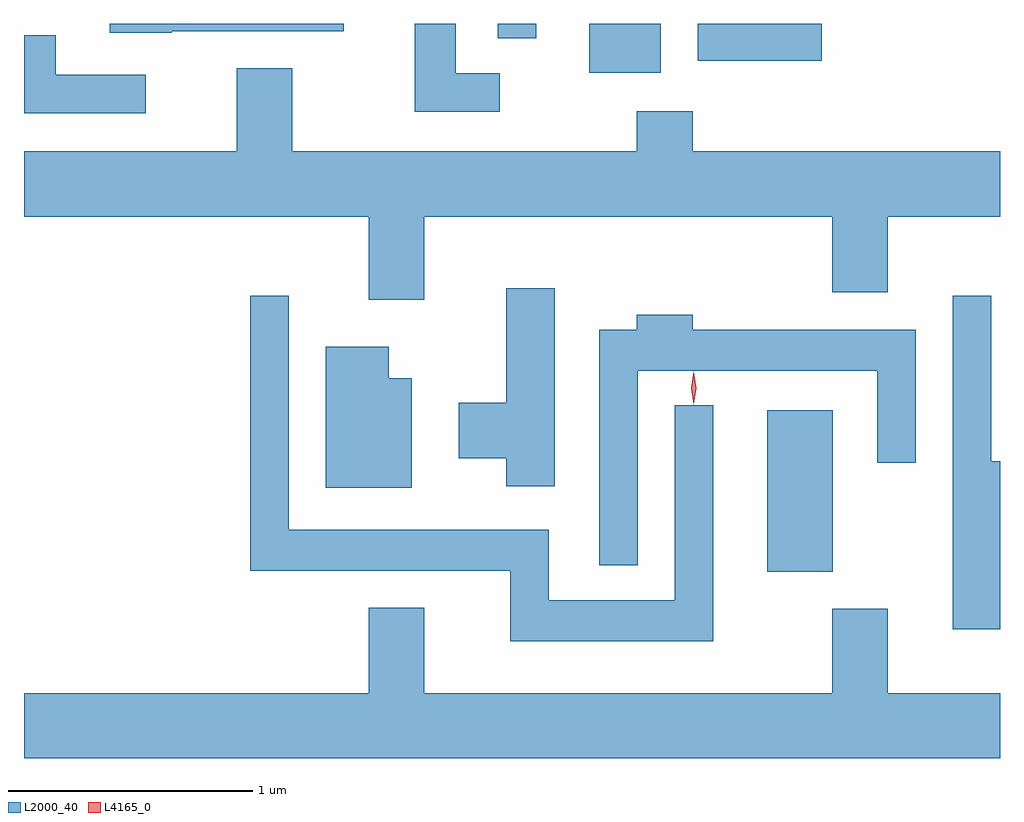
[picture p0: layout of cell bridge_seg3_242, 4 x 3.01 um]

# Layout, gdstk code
import gdstk
lib = gdstk.Library(unit=1e-6, precision=1e-09)
def R(c, l, rs):  # rectangles x0, y0, x1, y1
    for r in rs: c.add(gdstk.rectangle(r[:2], r[2:], *l))
def P(c, l, *ps):  # polygons
    for p in ps: c.add(gdstk.Polygon(p, *l))
L2000_40 = (2000, 40)
L4165_0 = (4165, 0)

bridge_seg3_242 = lib.new_cell('bridge_seg3_242')
R(bridge_seg3_242, L2000_40, [(931.946,1137.881,932.214,1138.544), (931.216,1139.926,931.509,1140.128), (931.661,1139.976,932.168,1140.128), (930.841,1140.068,930.999,1140.128)])
P(bridge_seg3_242, L2000_40, [(929.505,1140.096),(930.209,1140.096),(930.209,1140.128),(929.251,1140.128),(929.251,1140.091),(929.505,1140.091)],
  [(930.848,1139.924),(930.669,1139.924),(930.669,1140.128),(930.501,1140.128),(930.501,1139.766),(930.848,1139.766)],
  [(929.398,1139.919),(929.029,1139.919),(929.029,1140.079),(928.899,1140.079),(928.899,1139.761),(929.398,1139.761)],
  [(930.539,1139.336),(932.211,1139.336),(932.211,1139.026),(932.439,1139.026),(932.439,1139.336),(932.899,1139.336),(932.899,1139.604),(931.639,1139.604),(931.639,1139.769),(931.411,1139.769),(931.411,1139.604),(929.999,1139.604),(929.999,1139.944),(929.771,1139.944),(929.771,1139.604),(928.899,1139.604),(928.899,1139.336),(930.311,1139.336),(930.311,1138.996),(930.539,1138.996)],
  [(931.074,1139.044),(930.876,1139.044),(930.876,1138.574),(930.681,1138.574),(930.681,1138.346),(930.876,1138.346),(930.876,1138.231),(931.074,1138.231)],
  [(931.724,1138.563),(931.566,1138.563),(931.566,1137.764),(931.049,1137.764),(931.049,1138.054),(929.984,1138.054),(929.984,1139.013),(929.826,1139.013),(929.826,1137.886),(930.891,1137.886),(930.891,1137.596),(931.724,1137.596)],
  [(932.899,1138.334),(932.864,1138.334),(932.864,1139.013),(932.706,1139.013),(932.706,1137.646),(932.899,1137.646)],
  [(931.414,1138.706),(932.396,1138.706),(932.396,1138.328),(932.554,1138.328),(932.554,1138.874),(931.639,1138.874),(931.639,1138.934),(931.411,1138.934),(931.411,1138.874),(931.256,1138.874),(931.256,1137.908),(931.414,1137.908)],
  [(930.489,1138.674),(930.394,1138.674),(930.394,1138.804),(930.136,1138.804),(930.136,1138.226),(930.489,1138.226)],
  [(932.899,1137.384),(932.439,1137.384),(932.439,1137.729),(932.211,1137.729),(932.211,1137.384),(930.539,1137.384),(930.539,1137.734),(930.311,1137.734),(930.311,1137.384),(928.899,1137.384),(928.899,1137.116),(932.899,1137.116)])
P(bridge_seg3_242, L4165_0, [(931.644,1138.567),(931.643,1138.568),(931.634,1138.634),(931.643,1138.7),(931.643,1138.7),(931.644,1138.7),(931.654,1138.634),(931.644,1138.568)])

lib.write_gds('bridge_seg3_242.gds')
